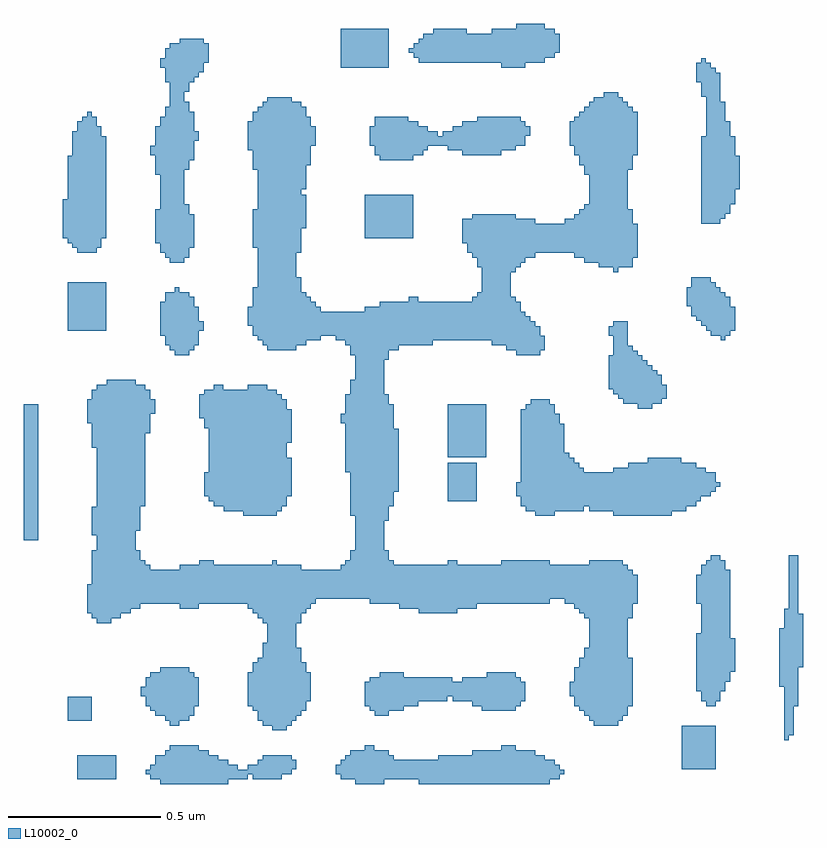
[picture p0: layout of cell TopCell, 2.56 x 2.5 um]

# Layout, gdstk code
import gdstk
lib = gdstk.Library(unit=1e-6, precision=1e-09)
def R(c, l, rs):  # rectangles x0, y0, x1, y1
    for r in rs: c.add(gdstk.rectangle(r[:2], r[2:], *l))
L10002_0 = (10002, 0)

topcell = lib.new_cell('TopCell')
R(topcell, L10002_0, [(1.472,1.024,1.663,1.119), (1.663,1.024,1.695,1.103), (2.112,1.024,2.207,1.135), (2.32,1.024,2.751,1.103), (1.2,1.04,1.327,1.119), (1.44,1.04,1.472,1.087), (1.695,1.04,1.727,1.087), (1.727,1.04,1.759,1.071), (1.776,1.04,1.871,1.087), (2.064,1.04,2.112,1.103), (2.207,1.04,2.223,1.135), (2.223,1.04,2.239,1.119), (2.239,1.04,2.32,1.103), (2.751,1.04,2.767,1.103), (2.767,1.04,2.783,1.087), (1.424,1.056,1.44,1.071), (1.759,1.056,1.776,1.071), (1.871,1.056,1.903,1.119), (2.048,1.056,2.064,1.087), (2.783,1.056,2.799,1.071), (1.76,1.071,1.776,1.087), (1.903,1.072,1.919,1.103), (3.184,1.072,3.295,1.215), (1.456,1.087,1.472,1.119), (1.792,1.087,1.871,1.103), (1.808,1.103,1.871,1.119), (2.08,1.103,2.112,1.119), (2.384,1.103,2.735,1.119), (1.488,1.119,1.631,1.135), (2.096,1.119,2.112,1.135), (2.496,1.119,2.703,1.135), (1.504,1.135,1.599,1.151), (2.144,1.135,2.175,1.151), (2.592,1.135,2.639,1.151), (3.52,1.168,3.535,1.599), (3.535,1.184,3.551,1.599), (1.84,1.2,1.855,1.759), (1.855,1.2,1.887,1.743), (1.504,1.216,1.535,1.407), (1.808,1.216,1.84,1.487), (1.887,1.216,1.903,1.743), (2.896,1.216,2.975,1.759), (1.168,1.232,1.247,1.311), (1.488,1.232,1.504,1.407), (1.535,1.232,1.567,1.407), (1.792,1.232,1.808,1.439), (1.903,1.232,1.919,1.743), (2.88,1.232,2.896,1.759), (2.975,1.232,2.991,1.759), (1.456,1.248,1.488,1.391), (1.567,1.248,1.583,1.391), (1.919,1.248,1.935,1.471), (2.176,1.248,2.223,1.375), (2.864,1.248,2.88,1.471), (2.991,1.248,3.007,1.743), (1.44,1.264,1.456,1.391), (1.776,1.264,1.792,1.423), (1.935,1.264,1.951,1.423), (2.16,1.264,2.176,1.375), (2.223,1.264,2.271,1.391), (2.528,1.264,2.639,1.375), (2.848,1.264,2.864,1.439), (1.424,1.28,1.44,1.375), (1.583,1.28,1.599,1.375), (1.76,1.28,1.776,1.391), (2.144,1.28,2.16,1.359), (2.271,1.28,2.319,1.375), (2.496,1.28,2.528,1.375), (2.639,1.28,2.655,1.375), (2.832,1.28,2.848,1.407), (3.007,1.28,3.023,1.439), (3.264,1.28,3.295,1.759), (3.551,1.28,3.567,1.775), (1.951,1.296,1.967,1.391), (2.319,1.296,2.415,1.375), (2.432,1.296,2.496,1.359), (2.655,1.296,2.671,1.359), (3.248,1.296,3.264,1.743), (3.295,1.296,3.311,1.775), (1.408,1.312,1.424,1.343), (2.415,1.312,2.431,1.375), (2.431,1.312,2.432,1.359), (2.816,1.312,2.832,1.359), (3.232,1.328,3.248,1.519), (3.311,1.328,3.327,1.759), (3.504,1.344,3.52,1.535), (2.464,1.359,2.496,1.375), (3.327,1.36,3.343,1.727), (2.192,1.375,2.223,1.391), (2.544,1.375,2.639,1.391), (1.472,1.391,1.488,1.407), (3.343,1.392,3.359,1.503), (3.567,1.408,3.583,1.583), (1.824,1.487,1.84,1.743), (1.264,1.552,1.311,2.335), (1.808,1.552,1.824,1.743), (1.919,1.552,1.935,1.743), (1.248,1.568,1.264,1.791), (1.311,1.568,1.343,2.351), (1.792,1.568,1.808,1.743), (2.864,1.568,2.88,1.743), (3.007,1.568,3.023,1.727), (1.232,1.584,1.248,1.679), (1.343,1.584,1.375,2.351), (1.776,1.584,1.792,1.743), (1.935,1.584,1.951,1.727), (2.32,1.584,2.447,1.743), (2.848,1.584,2.864,1.743), (3.536,1.599,3.551,1.775), (1.375,1.6,1.391,2.351), (1.391,1.6,1.407,1.791), (1.536,1.6,1.599,1.743), (1.76,1.6,1.776,1.743), (1.951,1.6,1.967,1.727), (2.256,1.6,2.32,1.743), (2.447,1.6,2.511,1.743), (2.832,1.6,2.848,1.743), (1.407,1.616,1.423,1.759), (1.423,1.616,1.439,1.743), (1.439,1.616,1.536,1.727), (1.599,1.616,1.76,1.743), (1.967,1.616,1.983,1.727), (2.16,1.616,2.207,2.591), (2.207,1.616,2.223,1.791), (2.223,1.616,2.239,1.759), (2.239,1.616,2.256,1.743), (2.511,1.616,2.751,1.743), (2.8,1.616,2.832,1.743), (3.023,1.616,3.039,1.711), (3.232,1.616,3.248,1.711), (1.983,1.632,2.16,1.727), (2.751,1.632,2.8,1.743), (2.064,1.727,2.16,1.743), (1.6,1.743,1.647,1.759), (2.08,1.743,2.16,1.759), (2.416,1.743,2.447,1.759), (2.592,1.743,2.751,1.759), (2.096,1.759,2.16,1.791), (3.28,1.759,3.295,1.775), (2.112,1.791,2.16,2.575), (1.024,1.824,1.071,2.271), (1.248,1.84,1.264,1.935), (1.391,1.856,1.407,2.335), (2.207,1.888,2.223,2.303), (1.744,1.904,1.855,2.319), (2.096,1.904,2.112,2.351), (2.704,1.904,2.751,2.287), (2.751,1.904,2.767,2.271), (2.96,1.904,3.151,2.063), (1.68,1.92,1.744,2.319), (1.855,1.92,1.871,2.303), (2.672,1.92,2.704,2.271), (2.767,1.92,2.783,2.239), (2.783,1.92,2.799,2.207), (2.799,1.92,2.815,2.111), (2.815,1.92,2.831,2.095), (2.831,1.92,2.847,2.079), (2.847,1.92,2.863,2.063), (2.88,1.92,2.96,2.047), (3.151,1.92,3.183,2.095), (3.183,1.92,3.199,2.079), (1.407,1.936,1.423,2.335), (1.648,1.936,1.679,2.335), (1.679,1.936,1.68,2.319), (1.871,1.936,1.887,2.287), (2.223,1.936,2.239,2.271), (2.656,1.936,2.672,2.255), (2.863,1.936,2.88,2.047), (3.199,1.936,3.231,2.079), (1.632,1.952,1.648,2.319), (2.416,1.952,2.511,2.079), (3.231,1.952,3.247,2.063), (1.616,1.968,1.632,2.047), (1.887,1.968,1.903,2.095), (2.64,1.968,2.656,2.015), (3.247,1.968,3.263,2.063), (3.263,1.968,3.279,2.047), (2.239,1.984,2.255,2.191), (3.279,1.984,3.295,2.047), (3.295,2,3.311,2.015), (2.08,2.048,2.096,2.303), (3.008,2.063,3.151,2.079), (3.072,2.079,3.151,2.095), (2.416,2.096,2.543,2.271), (1.248,2.128,1.264,2.319), (1.887,2.144,1.903,2.255), (1.423,2.176,1.439,2.319), (1.616,2.192,1.632,2.319), (1.232,2.208,1.248,2.287), (2.064,2.208,2.08,2.239), (1.6,2.224,1.616,2.303), (1.439,2.24,1.455,2.287), (3.04,2.256,3.055,2.431), (3.055,2.256,3.071,2.415), (3.071,2.256,3.087,2.399), (2.688,2.271,2.704,2.287), (2.992,2.272,3.007,2.543), (3.007,2.272,3.023,2.463), (3.023,2.272,3.039,2.447), (3.039,2.272,3.04,2.431), (3.087,2.272,3.103,2.383), (3.103,2.272,3.119,2.367), (2.976,2.288,2.992,2.543), (3.119,2.288,3.135,2.335), (2.96,2.304,2.976,2.543), (1.76,2.319,1.823,2.335), (2.944,2.32,2.96,2.431), (1.296,2.335,1.311,2.351), (2.207,2.416,2.223,2.607), (1.52,2.432,1.535,2.655), (1.535,2.432,1.567,2.639), (2.096,2.432,2.112,2.575), (2.64,2.432,2.655,2.607), (2.655,2.432,2.671,2.575), (2.671,2.432,2.687,2.559), (2.687,2.432,2.703,2.543), (2.703,2.432,2.719,2.527), (1.504,2.448,1.52,2.639), (1.567,2.448,1.583,2.623), (1.824,2.448,1.903,3.279), (1.903,2.448,1.919,3.263), (2.223,2.448,2.255,2.607), (2.608,2.448,2.623,2.895), (2.623,2.448,2.639,2.623), (2.639,2.448,2.64,2.607), (2.719,2.448,2.735,2.495), (1.488,2.464,1.504,2.639), (1.583,2.464,1.599,2.591), (1.808,2.464,1.824,3.263), (1.919,2.464,1.935,2.687), (1.935,2.464,1.951,2.639), (2.08,2.464,2.096,2.575), (2.255,2.464,2.367,2.607), (2.56,2.464,2.608,2.895), (1.792,2.48,1.808,3.247), (1.951,2.48,1.967,2.623), (1.967,2.48,1.983,2.607), (1.983,2.48,1.999,2.591), (2.048,2.48,2.08,2.575), (2.367,2.48,2.56,2.607), (3.312,2.48,3.327,2.639), (1.472,2.496,1.488,2.607), (1.776,2.496,1.792,2.655), (1.999,2.496,2.048,2.575), (2.944,2.496,2.96,2.527), (3.28,2.496,3.295,2.671), (3.295,2.496,3.311,2.655), (3.311,2.496,3.312,2.639), (3.327,2.496,3.343,2.623), (1.168,2.512,1.295,2.671), (1.599,2.512,1.615,2.543), (3.264,2.512,3.279,2.687), (3.279,2.512,3.28,2.671), (3.343,2.512,3.359,2.591), (1.76,2.528,1.776,2.591), (3.248,2.528,3.264,2.687), (3.232,2.544,3.248,2.687), (3.216,2.56,3.232,2.687), (2.144,2.575,2.16,2.591), (2.192,2.591,2.207,2.607), (3.2,2.592,3.216,2.655), (2.288,2.607,2.319,2.623), (2.496,2.607,2.56,2.623), (2.512,2.623,2.56,2.639), (2.528,2.639,2.56,2.895), (2.623,2.704,2.639,2.895), (2.96,2.704,2.975,3.295), (2.512,2.72,2.528,2.895), (2.639,2.72,2.655,2.879), (2.912,2.72,2.96,3.279), (2.975,2.72,2.991,3.279), (2.991,2.72,3.007,3.263), (3.007,2.72,3.023,2.911), (1.504,2.736,1.551,3.455), (2.655,2.736,2.671,2.879), (2.864,2.736,2.912,2.927), (1.488,2.752,1.504,3.247), (1.551,2.752,1.567,2.927), (2.496,2.752,2.512,2.895), (2.671,2.752,2.703,2.879), (2.832,2.752,2.864,2.895), (3.023,2.752,3.039,2.863), (1.2,2.768,1.263,3.199), (1.472,2.768,1.488,3.215), (1.919,2.768,1.935,3.263), (2.48,2.768,2.496,2.879), (2.703,2.768,2.832,2.863), (1.184,2.784,1.2,3.167), (1.263,2.784,1.279,3.183), (1.567,2.784,1.583,2.895), (1.776,2.784,1.792,2.911), (1.168,2.8,1.184,3.087), (1.456,2.8,1.472,2.911), (2.464,2.8,2.48,2.879), (1.152,2.816,1.168,2.943), (1.279,2.816,1.295,3.151), (2.144,2.816,2.303,2.959), (1.935,2.848,1.951,2.959), (2.8,2.863,2.832,2.879), (3.248,2.864,3.311,3.151), (3.311,2.88,3.327,3.263), (2.848,2.895,2.864,2.911), (3.327,2.896,3.343,3.199), (2.88,2.927,2.912,3.263), (3.343,2.928,3.359,3.151), (1.935,2.976,1.951,3.247), (3.359,2.976,3.375,3.087), (1.456,3.024,1.472,3.183), (2.864,3.024,2.88,3.247), (1.551,3.04,1.567,3.263), (1.776,3.04,1.792,3.231), (3.007,3.04,3.023,3.247), (1.951,3.056,1.967,3.215), (2.848,3.056,2.864,3.231), (1.567,3.072,1.583,3.231), (2.192,3.072,2.287,3.215), (2.287,3.072,2.303,3.199), (1.44,3.088,1.456,3.119), (2.176,3.088,2.192,3.215), (2.303,3.088,2.319,3.199), (2.319,3.088,2.335,3.183), (2.464,3.088,2.591,3.199), (2.832,3.088,2.848,3.215), (3.023,3.088,3.039,3.231), (1.76,3.104,1.776,3.199), (2.335,3.104,2.351,3.183), (2.416,3.104,2.464,3.167), (2.591,3.104,2.639,3.215), (1.967,3.12,1.983,3.183), (2.16,3.12,2.176,3.183), (2.351,3.12,2.383,3.167), (2.383,3.12,2.416,3.151), (2.639,3.12,2.655,3.215), (2.655,3.12,2.671,3.199), (2.816,3.12,2.832,3.199), (1.583,3.136,1.599,3.167), (2.4,3.151,2.416,3.167), (3.264,3.151,3.279,3.391), (3.279,3.151,3.295,3.375), (3.295,3.151,3.311,3.359), (2.671,3.152,2.687,3.183), (2.432,3.167,2.464,3.183), (1.216,3.199,1.263,3.215), (2.512,3.199,2.591,3.215), (1.232,3.215,1.247,3.231), (2.896,3.263,2.912,3.279), (2.928,3.279,2.96,3.295), (3.248,3.28,3.263,3.407), (3.263,3.28,3.264,3.391), (1.551,3.296,1.567,3.471), (1.488,3.328,1.504,3.439), (1.567,3.328,1.583,3.471), (3.232,3.328,3.248,3.391), (1.583,3.344,1.599,3.471), (1.599,3.36,1.615,3.471), (1.472,3.376,1.488,3.407), (2.064,3.376,2.223,3.503), (2.592,3.376,2.671,3.503), (1.615,3.392,1.631,3.455), (2.32,3.392,2.592,3.471), (2.671,3.392,2.735,3.519), (2.304,3.408,2.32,3.455), (2.735,3.408,2.767,3.503), (2.288,3.424,2.304,3.439), (2.767,3.424,2.783,3.487), (1.536,3.455,1.551,3.471), (2.336,3.471,2.592,3.487), (2.368,3.487,2.479,3.503), (2.56,3.487,2.592,3.503), (2.64,3.503,2.671,3.519)])

lib.write_gds('TopCell.gds')
